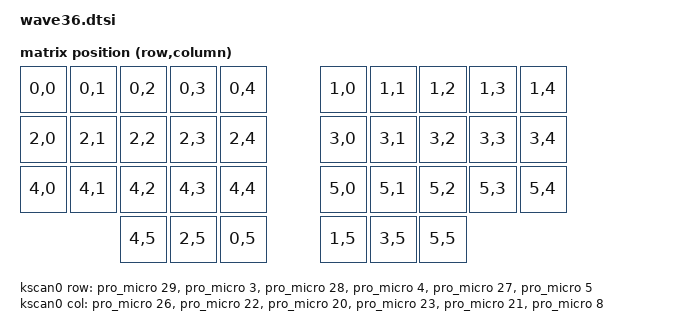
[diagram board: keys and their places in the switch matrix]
/*
 * Copyright (c) 2020 Pete Johanson
 *
 * SPDX-License-Identifier: MIT
 */

#include <dt-bindings/zmk/matrix_transform.h>

/ {
    chosen {
        zmk,kscan = &kscan0;
        zmk,matrix-transform = &default_transform;
    };

    default_transform: keymap_transform_0 {
        compatible = "zmk,matrix-transform";
        columns = <10>;
        rows = <4>;
// | SW2  | SW3  | SW4  | SW5  | SW6  |   | SW6  | SW5  | SW4  | SW3  | SW2  |
// | SW8  | SW9  | SW10 | SW11 | SW12 |   | SW12 | SW11 | SW10 | SW9  | SW8  |
// | SW14 | SW15 | SW16 | SW17 | SW18 |   | SW18 | SW17 | SW16 | SW15 | SW14 |
//                      | SW19 | SW20 | SW21 |   | SW21 | SW20 | SW19 |
        map = <
RC(0,0) RC(0,1) RC(0,2) RC(0,3) RC(0,4)  RC(1,0) RC(1,1) RC(1,2) RC(1,3) RC(1,4)
RC(2,0) RC(2,1) RC(2,2) RC(2,3) RC(2,4)  RC(3,0) RC(3,1) RC(3,2) RC(3,3) RC(3,4)
RC(4,0) RC(4,1) RC(4,2) RC(4,3) RC(4,4)  RC(5,0) RC(5,1) RC(5,2) RC(5,3) RC(5,4)
                RC(4,5) RC(2,5) RC(0,5)  RC(1,5) RC(3,5) RC(5,5)
        >;
    };

    kscan0: kscan_matrix {
        compatible = "zmk,kscan-gpio-matrix";
        wakeup-source;
        diode-direction = "col2row";

        row-gpios
            = <&pro_micro 29 (GPIO_ACTIVE_HIGH | GPIO_PULL_DOWN)>
            , <&pro_micro 3 (GPIO_ACTIVE_HIGH | GPIO_PULL_DOWN)>
            , <&pro_micro 28 (GPIO_ACTIVE_HIGH | GPIO_PULL_DOWN)>
            , <&pro_micro 4 (GPIO_ACTIVE_HIGH | GPIO_PULL_DOWN)>
            , <&pro_micro 27 (GPIO_ACTIVE_HIGH | GPIO_PULL_DOWN)>
            , <&pro_micro 5 (GPIO_ACTIVE_HIGH | GPIO_PULL_DOWN)>
            ;

        col-gpios
            = <&pro_micro 26 (GPIO_ACTIVE_HIGH | GPIO_PULL_DOWN)>
            , <&pro_micro 22 (GPIO_ACTIVE_HIGH | GPIO_PULL_DOWN)>
            , <&pro_micro 20 (GPIO_ACTIVE_HIGH | GPIO_PULL_DOWN)>
            , <&pro_micro 23 (GPIO_ACTIVE_HIGH | GPIO_PULL_DOWN)>
            , <&pro_micro 21 (GPIO_ACTIVE_HIGH | GPIO_PULL_DOWN)>
            , <&pro_micro 8 (GPIO_ACTIVE_HIGH | GPIO_PULL_DOWN)>
            ;
    };

    // TODO: per-key RGB node(s)?
};

